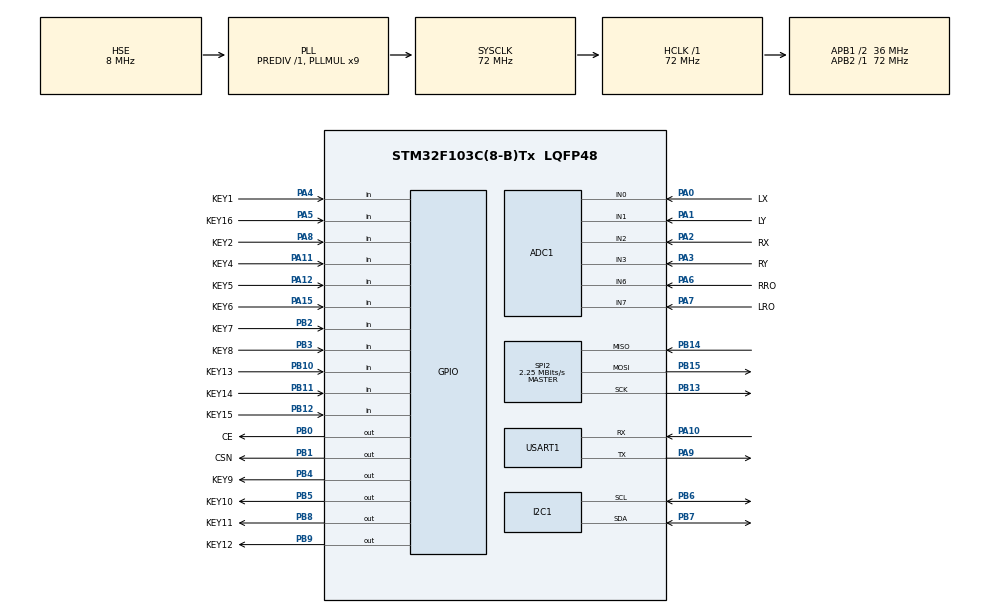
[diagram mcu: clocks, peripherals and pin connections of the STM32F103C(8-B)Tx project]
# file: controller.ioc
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ADC1.Channel-0\#ChannelRegularConversion=ADC_CHANNEL_0
ADC1.Channel-1\#ChannelRegularConversion=ADC_CHANNEL_1
ADC1.Channel-2\#ChannelRegularConversion=ADC_CHANNEL_2
ADC1.Channel-3\#ChannelRegularConversion=ADC_CHANNEL_3
ADC1.Channel-4\#ChannelRegularConversion=ADC_CHANNEL_7
ADC1.Channel-5\#ChannelRegularConversion=ADC_CHANNEL_6
ADC1.ContinuousConvMode=ENABLE
ADC1.NbrOfConversion=6
ADC1.NbrOfConversionFlag=1
ADC1.Rank-0\#ChannelRegularConversion=1
ADC1.Rank-1\#ChannelRegularConversion=2
ADC1.Rank-2\#ChannelRegularConversion=3
ADC1.Rank-3\#ChannelRegularConversion=4
ADC1.Rank-4\#ChannelRegularConversion=5
ADC1.Rank-5\#ChannelRegularConversion=6
ADC1.SamplingTime-0\#ChannelRegularConversion=ADC_SAMPLETIME_1CYCLE_5
ADC1.SamplingTime-1\#ChannelRegularConversion=ADC_SAMPLETIME_1CYCLE_5
ADC1.SamplingTime-2\#ChannelRegularConversion=ADC_SAMPLETIME_1CYCLE_5
ADC1.SamplingTime-3\#ChannelRegularConversion=ADC_SAMPLETIME_1CYCLE_5
ADC1.SamplingTime-4\#ChannelRegularConversion=ADC_SAMPLETIME_1CYCLE_5
ADC1.SamplingTime-5\#ChannelRegularConversion=ADC_SAMPLETIME_1CYCLE_5
ADC1.master=1
Dma.ADC1.0.Direction=DMA_PERIPH_TO_MEMORY
Dma.ADC1.0.Instance=DMA1_Channel1
Dma.ADC1.0.MemDataAlignment=DMA_MDATAALIGN_HALFWORD
Dma.ADC1.0.MemInc=DMA_MINC_ENABLE
Dma.ADC1.0.Mode=DMA_CIRCULAR
Dma.ADC1.0.PeriphDataAlignment=DMA_PDATAALIGN_HALFWORD
Dma.ADC1.0.PeriphInc=DMA_PINC_DISABLE
Dma.ADC1.0.Priority=DMA_PRIORITY_LOW
Dma.Request0=ADC1
Mcu.Family=STM32F1
Mcu.Name=STM32F103C(8-B)Tx
Mcu.Package=LQFP48
NVIC.DMA1_Channel1_IRQn=true\:0\:0\:false\:false\:true\:false\:true\:true
NVIC.PriorityGroup=NVIC_PRIORITYGROUP_4
PA0-WKUP.GPIO_Label=LX
PA0-WKUP.Signal=ADCx_IN0
PA1.GPIO_Label=LY
PA1.Signal=ADCx_IN1
PA10.Mode=Asynchronous
PA10.Signal=USART1_RX
PA11.GPIO_Label=KEY4
PA11.GPIO_PuPd=GPIO_PULLUP
PA11.Signal=GPIO_Input
PA12.GPIO_Label=KEY5
PA12.GPIO_PuPd=GPIO_PULLUP
PA12.Signal=GPIO_Input
PA13.Mode=Serial_Wire
PA13.Signal=SYS_JTMS-SWDIO
PA14.Mode=Serial_Wire
PA14.Signal=SYS_JTCK-SWCLK
PA15.GPIO_Label=KEY6
PA15.GPIO_PuPd=GPIO_PULLUP
PA15.Signal=GPIO_Input
PA2.GPIO_Label=RX
PA2.Signal=ADCx_IN2
PA3.GPIO_Label=RY
PA3.Signal=ADCx_IN3
PA4.GPIO_Label=KEY1
PA4.GPIO_PuPd=GPIO_PULLUP
PA4.Signal=GPIO_Input
PA5.GPIO_Label=KEY16
PA5.GPIO_PuPd=GPIO_PULLUP
PA5.Signal=GPIO_Input
PA6.GPIO_Label=RRO
PA6.Signal=ADCx_IN6
PA7.GPIO_Label=LRO
PA7.Signal=ADCx_IN7
PA8.GPIO_Label=KEY2
PA8.GPIO_PuPd=GPIO_PULLUP
PA8.Signal=GPIO_Input
PA9.Mode=Asynchronous
PA9.Signal=USART1_TX
PB0.GPIO_Label=CE
PB0.GPIO_PuPd=GPIO_NOPULL
PB0.GPIO_Speed=GPIO_SPEED_FREQ_HIGH
PB0.Signal=GPIO_Output
PB1.GPIO_Label=CSN
PB1.GPIO_Speed=GPIO_SPEED_FREQ_HIGH
PB1.PinState=GPIO_PIN_SET
PB1.Signal=GPIO_Output
PB10.GPIO_Label=KEY13
PB10.GPIO_PuPd=GPIO_PULLUP
PB10.Signal=GPIO_Input
PB11.GPIO_Label=KEY14
PB11.GPIO_PuPd=GPIO_PULLUP
PB11.Signal=GPIO_Input
PB12.GPIO_Label=KEY15
PB12.GPIO_PuPd=GPIO_PULLUP
PB12.Signal=GPIO_Input
PB13.Mode=Full_Duplex_Master
PB13.Signal=SPI2_SCK
PB14.GPIO_PuPd=GPIO_PULLUP
PB14.Mode=Full_Duplex_Master
PB14.Signal=SPI2_MISO
PB15.Mode=Full_Duplex_Master
PB15.Signal=SPI2_MOSI
PB2.GPIO_Label=KEY7
PB2.GPIO_PuPd=GPIO_PULLUP
PB2.Signal=GPIO_Input
PB3.GPIO_Label=KEY8
PB3.GPIO_PuPd=GPIO_PULLUP
PB3.Signal=GPIO_Input
PB4.GPIO_Label=KEY9
PB4.GPIO_PuPd=GPIO_PULLUP
PB4.Signal=GPIO_Output
PB5.GPIO_Label=KEY10
PB5.GPIO_PuPd=GPIO_PULLUP
PB5.Signal=GPIO_Output
PB6.Mode=I2C
PB6.Signal=I2C1_SCL
PB7.Mode=I2C
PB7.Signal=I2C1_SDA
PB8.GPIO_Label=KEY11
PB8.GPIO_PuPd=GPIO_PULLUP
PB8.Signal=GPIO_Output
PB9.GPIO_Label=KEY12
PB9.GPIO_PuPd=GPIO_PULLUP
PB9.Signal=GPIO_Output
PD0-OSC_IN.Mode=HSE-External-Oscillator
PD0-OSC_IN.Signal=RCC_OSC_IN
PD1-OSC_OUT.Mode=HSE-External-Oscillator
PD1-OSC_OUT.Signal=RCC_OSC_OUT
ProjectManager.HeapSize=0x200
ProjectManager.StackSize=0x400
ProjectManager.TargetToolchain=STM32CubeIDE
RCC.ADCPresc=RCC_ADCPCLK2_DIV6
RCC.AHBFreq_Value=72000000
RCC.APB1CLKDivider=RCC_HCLK_DIV2
RCC.APB1Freq_Value=36000000
RCC.APB1TimFreq_Value=72000000
RCC.APB2Freq_Value=72000000
RCC.APB2TimFreq_Value=72000000
RCC.HCLKFreq_Value=72000000
RCC.PLLMUL=RCC_PLL_MUL9
RCC.PLLSourceVirtual=RCC_PLLSOURCE_HSE
RCC.SYSCLKFreq_VALUE=72000000
RCC.SYSCLKSource=RCC_SYSCLKSOURCE_PLLCLK
RCC.USBFreq_Value=72000000
SH.ADCx_IN0.0=ADC1_IN0,IN0
SH.ADCx_IN1.0=ADC1_IN1,IN1
SH.ADCx_IN2.0=ADC1_IN2,IN2
SH.ADCx_IN3.0=ADC1_IN3,IN3
SH.ADCx_IN6.0=ADC1_IN6,IN6
SH.ADCx_IN7.0=ADC1_IN7,IN7
SPI2.BaudRatePrescaler=SPI_BAUDRATEPRESCALER_16
SPI2.CLKPhase=SPI_PHASE_1EDGE
SPI2.CalculateBaudRate=2.25 MBits/s
SPI2.Direction=SPI_DIRECTION_2LINES
SPI2.Mode=SPI_MODE_MASTER
SPI2.VirtualType=VM_MASTER
USART1.VirtualMode=VM_ASYNC
board=custom

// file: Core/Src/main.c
/* USER CODE BEGIN Header */
/**
  ******************************************************************************
  * @file           : main.c
  * @brief          : Main program body
  ******************************************************************************
  * @attention
  *
  * Copyright (c) 2025 STMicroelectronics.
  * All rights reserved.
  *
  * This software is licensed under terms that can be found in the LICENSE file
  * in the root directory of this software component.
  * If no LICENSE file comes with this software, it is provided AS-IS.
  *
  ******************************************************************************
  */
/* USER CODE END Header */
#include "main.h"
#include "adc.h"
#include "dma.h"
#include "i2c.h"
#include "spi.h"
#include "usart.h"
#include "gpio.h"

/* USER CODE BEGIN Includes */
#include "NRF24L01.h"
#include "oled.h"
#include <stdio.h>
#include "button.h"
#include "axis.h"
/* USER CODE END Includes */

/* USER CODE BEGIN PV */
uint8_t KeyNum;

uint8_t SendFlag;								//发送标志位
uint8_t SendSuccessCount, SendFailedCount;		//发送成功计次，发送失败计次

uint8_t ReceiveFlag;							//接收标志位
uint8_t ReceiveSuccessCount, ReceiveFailedCount;//接收成功计次，接收失败计次
/* USER CODE END PV */

void SystemClock_Config(void);

int main(void)
{

  /* MCU Configuration--------------------------------------------------------*/

  /* Reset of all peripherals, Initializes the Flash interface and the Systick. */
  HAL_Init();

  /* Configure the system clock */
  SystemClock_Config();

  /* Initialize all configured peripherals */
  MX_GPIO_Init();
  MX_DMA_Init();
  MX_ADC1_Init();
  MX_I2C1_Init();
  MX_SPI2_Init();
  MX_USART1_UART_Init();

  /* USER CODE BEGIN 2 */
  HAL_Delay(50);
//  OLED_Init();
//  NRF24L01_Init();
  Axis_init();
  SendSuccessCount = 0;
  SendFailedCount = 0;
  ReceiveSuccessCount = 0;
  ReceiveFailedCount = 0;

//  HAL_Delay(1000);
  /* USER CODE END 2 */

  /* Infinite loop */
  /* USER CODE BEGIN WHILE */
  while (1)
  {
         Button_read();
         Axis_read();

         memset(NRF24L01_TxPacket, 0, 8);

             //  填充有效数据（前8字节）
             NRF24L01_TxPacket[0] = L[0];      // 左摇杆X
             NRF24L01_TxPacket[1] = L[1];      // 左摇杆Y
             NRF24L01_TxPacket[2] = R[0];      // 右摇杆X
             NRF24L01_TxPacket[3] = R[1];      // 右摇杆Y
             NRF24L01_TxPacket[4] = Round[0];  // 旋钮1
             NRF24L01_TxPacket[5] = Round[1];  // 旋钮2

             //  打包按键状态
             for(uint8_t i=0; i<8; i++) {
                 if(button[i])   NRF24L01_TxPacket[6] |= (1 << i);
                 if(button[i+8]) NRF24L01_TxPacket[7] |= (1 << i);
             }
             //  发送并接收
             SendFlag = NRF24L01_Send();

			if (SendFlag == 1)			//发送标志位为1，表示发送成功
			{
				SendSuccessCount ++;	//发送成功计次变量自增
			}
			else						//发送标志位不为1，即2/3/4，表示发送不成功
			{
				SendFailedCount ++;		//发送失败计次变量自增
			}

			ReceiveFlag = NRF24L01_Receive();

			if (ReceiveFlag)				//接收标志位不为0，表示收到了一个数据包
			{
				if (ReceiveFlag == 1)		//接收标志位为1，表示接收成功
				{
					ReceiveSuccessCount ++;	//接收成功计次变量自增
				}
				else	//接收标志位不为0也不为1，即2/3，表示此次接收产生了错误，错误接收的数据不应该使用
				{
					ReceiveFailedCount ++;	//接收失败计次变量自增
				}
			}

		    //OLED_NewFrame();

		    // 显示摇杆和旋钮值
		    //char buf[32];
		    //sprintf(buf, "LX:%3d LY:%3d", L[0], L[1]);
		    //OLED_PrintASCIIString(0, 0, buf, &afont8x6, OLED_COLOR_NORMAL);

		    //sprintf(buf, "RX:%3d RY:%3d", R[0], R[1]);
		    //OLED_PrintASCIIString(0, 8, buf, &afont8x6, OLED_COLOR_NORMAL);

		    //sprintf(buf, "R1:%3d R2:%3d", Round[0], Round[1]);
		    //OLED_PrintASCIIString(0, 16, buf, &afont8x6, OLED_COLOR_NORMAL);

//		     显示发送/接收状态
		    //sprintf(buf, "Tx:%3d/%3d", SendSuccessCount, SendFailedCount);
		  //  OLED_PrintASCIIString(0, 24, buf, &afont8x6, OLED_COLOR_NORMAL);

		//    sprintf(buf, "Rx:%3d/%3d", ReceiveSuccessCount, ReceiveFailedCount);
//		    OLED_PrintASCIIString(0, 32, buf, &afont8x6, OLED_COLOR_NORMAL);

//		     显示当前时间
//		     这里可以添加RTC功能获取时间

	//	  OLED_ShowFrame();

	  //    HAL_Delay(10); // 每秒操作一次

    /* USER CODE END WHILE */

  }
}

void SystemClock_Config(void)
{
  RCC_OscInitTypeDef RCC_OscInitStruct = {0};
  RCC_ClkInitTypeDef RCC_ClkInitStruct = {0};
  RCC_PeriphCLKInitTypeDef PeriphClkInit = {0};

  /** Initializes the RCC Oscillators according to the specified parameters
  * in the RCC_OscInitTypeDef structure.
  */
  RCC_OscInitStruct.OscillatorType = RCC_OSCILLATORTYPE_HSE;
  RCC_OscInitStruct.HSEState = RCC_HSE_ON;
  RCC_OscInitStruct.HSEPredivValue = RCC_HSE_PREDIV_DIV1;
  RCC_OscInitStruct.HSIState = RCC_HSI_ON;
  RCC_OscInitStruct.PLL.PLLState = RCC_PLL_ON;
  RCC_OscInitStruct.PLL.PLLSource = RCC_PLLSOURCE_HSE;
  RCC_OscInitStruct.PLL.PLLMUL = RCC_PLL_MUL9;
  if (HAL_RCC_OscConfig(&RCC_OscInitStruct) != HAL_OK)
  {
    Error_Handler();
  }

  /** Initializes the CPU, AHB and APB buses clocks
  */
  RCC_ClkInitStruct.ClockType = RCC_CLOCKTYPE_HCLK|RCC_CLOCKTYPE_SYSCLK
                              |RCC_CLOCKTYPE_PCLK1|RCC_CLOCKTYPE_PCLK2;
  RCC_ClkInitStruct.SYSCLKSource = RCC_SYSCLKSOURCE_PLLCLK;
  RCC_ClkInitStruct.AHBCLKDivider = RCC_SYSCLK_DIV1;
  RCC_ClkInitStruct.APB1CLKDivider = RCC_HCLK_DIV2;
  RCC_ClkInitStruct.APB2CLKDivider = RCC_HCLK_DIV1;

  if (HAL_RCC_ClockConfig(&RCC_ClkInitStruct, FLASH_LATENCY_2) != HAL_OK)
  {
    Error_Handler();
  }
  PeriphClkInit.PeriphClockSelection = RCC_PERIPHCLK_ADC;
  PeriphClkInit.AdcClockSelection = RCC_ADCPCLK2_DIV6;
  if (HAL_RCCEx_PeriphCLKConfig(&PeriphClkInit) != HAL_OK)
  {
    Error_Handler();
  }
}

void Error_Handler(void)
{
  __disable_irq();
  while (1)
  {
  }
}
